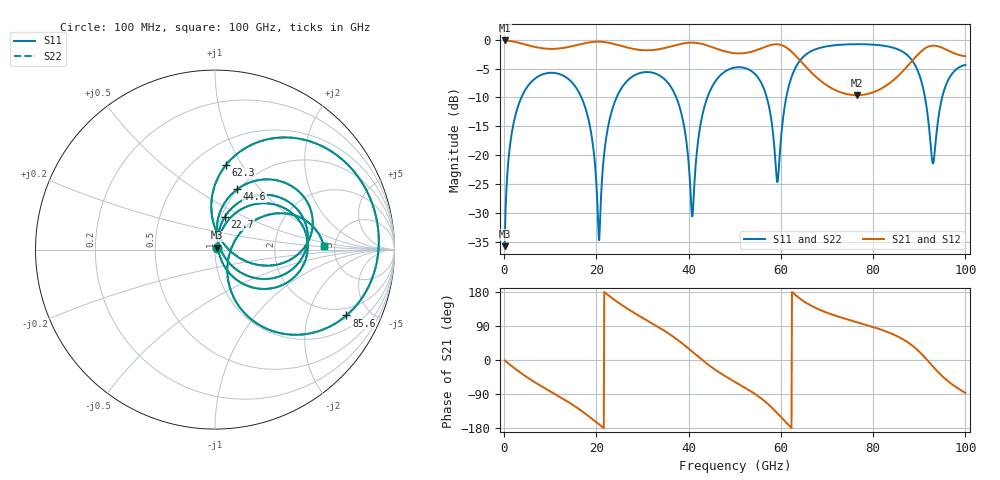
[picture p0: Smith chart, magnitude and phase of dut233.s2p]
! Touchstone file exported from HFSS 2026.1.0
!  File:  C:/ffzhzh/LocalFiles/Ansys_Project_Files/temp_train_TSV_RDL_233_1783665339_29156.aedt
!  Generated:  02:44:21 PM Jul 10, 2026
!  Design:  TSV_RDL
!  Project:  temp_train_TSV_RDL_233_1783665339_29156
! Variables:
!  h_bsmrdl = 4.91um
!  h_ox = 20um
!  h_rdl = 5um
!  h_sub = 88.37um
!  h_tmrdl = 3.34um
!  h_tsv = 88.37um
!  h_via = 3um
!  l_bsmrdl = 229.85um
!  l_sub = 2585.28um
!  l_tmrdl = 342.89um
!  m_sub = 200um
!  pitch = 51.34um
!  r_tsv = 8.71um
!  s_tmrdl = 10um
!  w_bsmrdl = 25.22um
!  w_sub = 500um
!  w_tmrdl = 16.17um
!  x_tsv_center1 = 350.975um
!  x_tsv_center2 = 606.045um
!  x_tsv_center3 = 965.105um
!  x_tsv_center4 = 1220.175um
!  x_tsv_center5 = 1579.235um
!  x_tsv_center6 = 1834.305um
# GHz S MA R 50.000000
! Terminal data exported
! Port[1] = TM_RDL1_1_T1
! Port[2] = TM_RDL5_1_T1
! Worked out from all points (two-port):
!   1000 points, 100 MHz to 100 GHz, reference 50 ohm
!   highest |S21| = -0.11 dB at 100 MHz (marker M1); lowest = -9.6 dB at 76.5 GHz (marker M2)
!   |S21| within 3 dB of the highest: start of sweep to 63.6 GHz; 89.06 GHz to end of sweep
!   lowest |S11| = -35.8 dB at 100 MHz (marker M3), VSWR 1.03, Z = 51.3 + j1.03 ohm
!   |S11| at or under -10 dB: 16.76 GHz to 24.37 GHz (7.616 GHz wide, 37 % of centre); 37.32 GHz to 44.06 GHz (6.741 GHz wide, 16.6 % of centre); 56.95 GHz to 61.16 GHz (4.218 GHz wide, 7.14 % of centre) (the widest 3 of 5)
!   |S22| runs from -35.8 to -0.8 dB; largest |S21 - S12| = 5.1e-13
!   S11 on the Smith chart (normalised r, x): 100 MHz: 1.03, +0.02; 22.7 GHz: 1.04, +0.39; 44.6 GHz: 0.99, +0.76; 62.3 GHz: 0.70, +0.85; 85.6 GHz: 1.59, -3.56; 100 GHz: 4.06, +0.24
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0.1  0.01622 38.0  0.9873 -1.0  0.9873 -1.0  0.01622 38.0
! Gamma 0 0 0 0
! Port Impedance 50 0 50 0
1.6  0.1505 68.1  0.9723 -15.7  0.9723 -15.7  0.1505 68.1
4.6  0.3686 44.5  0.9099 -42.5  0.9099 -42.5  0.3686 44.5
16.8  0.3135 -43.4  0.9215 -134.4  0.9215 -134.4  0.3135 -43.3
20.5  0.01953 -12.1  0.9636 -169.1  0.9636 -169.1  0.01971 -12.1
22.7  0.1904 73.3  0.9423 169.8  0.9423 169.8  0.1903 73.3
33.4  0.4978 -2.6  0.8271 87.3  0.8271 87.3  0.4976 -2.5
38.2  0.2482 -37.7  0.9201 47.5  0.9201 47.5  0.2481 -37.5
40.8  0.02937 24.2  0.9453 21.7  0.9453 21.7  0.02988 24.4
44.6  0.3583 69.7  0.8772 -15.5  0.8772 -15.5  0.3584 69.7
50.1  0.5754 30.8  0.765 -58.2  0.765 -58.2  0.5754 30.8
56.2  0.3868 -11.1  0.8566 -105.8  0.8566 -105.8  0.3869 -11.0
59.2  0.05842 31.1  0.9154 -140.1  0.9154 -140.1  0.05948 31.4
62.3  0.4747 82.7  0.7896 -179.3  0.7896 -179.3  0.475 82.6
66.7  0.8018 48.8  0.5161 142.4  0.5161 142.4  0.8019 48.8
76.5  0.9163 9.3  0.331 99.7  0.331 99.7  0.9163 9.3
83.4  0.8723 -15.8  0.4158 72.5  0.4158 72.5  0.8722 -15.8
85.6  0.8191 -26.6  0.4942 60.4  0.4942 60.4  0.8189 -26.6
90.2  0.4722 -60.5  0.7793 19.7  0.7793 19.7  0.4717 -60.6
93  0.08452 -12.5  0.8904 -17.7  0.8904 -17.7  0.08316 -12.2
95.6  0.387 31.1  0.8305 -49.5  0.8305 -49.5  0.387 31.4
100  0.606 1.7  0.7206 -86.9  0.7206 -86.9  0.6061 1.9
